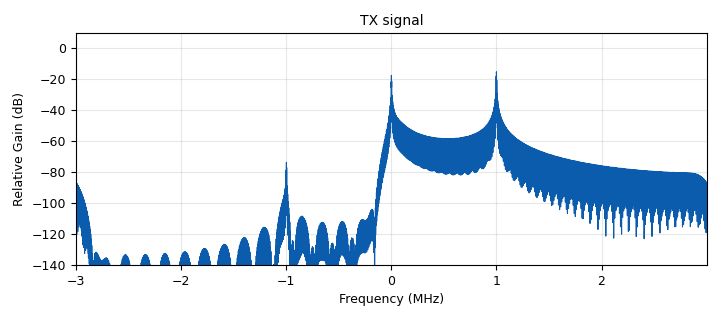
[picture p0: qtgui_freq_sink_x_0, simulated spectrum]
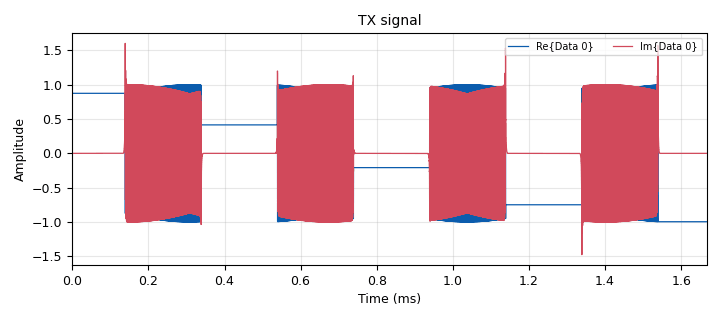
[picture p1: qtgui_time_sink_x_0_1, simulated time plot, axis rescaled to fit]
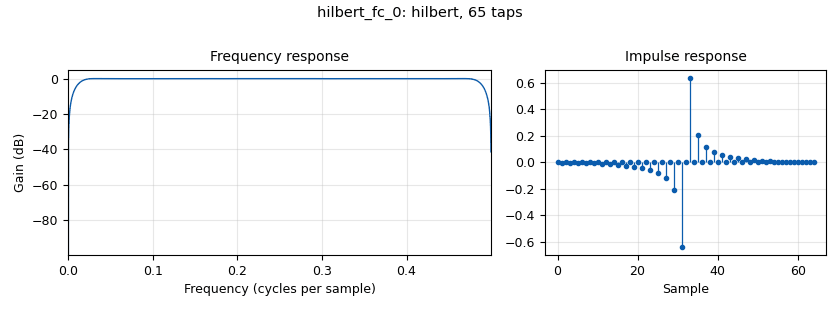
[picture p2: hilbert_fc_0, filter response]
options:
  parameters:
    generate_options: qt_gui
    id: top_block
    output_language: python
    title: Chirp Radar
  states: {}

blocks:
- name: samp_rate
  id: variable
  parameters:
    value: '6000000'
  states: {}
- name: analog_sig_source_x_0
  id: analog_sig_source_x
  parameters:
    amp: '1'
    freq: '2500'
    offset: '0'
    phase: '0'
    samp_rate: samp_rate
    type: float
    waveform: analog.GR_SQR_WAVE
  states: {}
- name: blocks_complex_to_real_0
  id: blocks_complex_to_real
  parameters: {}
  states: {}
- name: blocks_complex_to_real_0_0
  id: blocks_complex_to_real
  parameters: {}
  states: {}
- name: blocks_float_to_complex_0
  id: blocks_float_to_complex
  parameters: {}
  states: {}
- name: blocks_multiply_xx_0
  id: blocks_multiply_xx
  parameters:
    type: float
  states: {}
- name: blocks_vco_f_0
  id: blocks_vco_f
  parameters:
    amplitude: '1'
    samp_rate: samp_rate
    sensitivity: '6280000'
  states: {}
- name: hilbert_fc_0
  id: hilbert_fc
  parameters:
    num_taps: '64'
    win: firdes.WIN_HAMMING
  states: {}
- name: iio_pluto_sink_0
  id: iio_pluto_sink
  parameters:
    attenuation1: '10.0'
    auto_filter: 'True'
    bandwidth: '40000000'
    buffer_size: '32768'
    cyclic: 'False'
    frequency: '1000000000'
    samplerate: '2000000'
  states: {}
- name: iio_pluto_source_0
  id: iio_pluto_source
  parameters:
    auto_filter: 'True'
    bandwidth: '40000000'
    bbdc: 'True'
    buffer_size: '32768'
    frequency: '1000000000'
    gain1: '''slow_attack'''
    quadrature: 'True'
    rfdc: 'True'
    samplerate: '2000000'
  states: {}
- name: qtgui_freq_sink_x_0
  id: qtgui_freq_sink_x
  parameters:
    bw: samp_rate
    fc: '0'
    fftsize: '10240'
    name: '"TX signal"'
    type: complex
    wintype: firdes.WIN_BLACKMAN_hARRIS
  states: {}
- name: qtgui_freq_sink_x_1
  id: qtgui_freq_sink_x
  parameters:
    bw: samp_rate
    fc: '0'
    fftsize: '1000'
    freqhalf: 'False'
    type: float
    wintype: firdes.WIN_BLACKMAN_hARRIS
  states: {}
- name: qtgui_freq_sink_x_1_0
  id: qtgui_freq_sink_x
  parameters:
    bw: samp_rate
    fc: '0'
    fftsize: '10000'
    freqhalf: 'False'
    name: '"rx "'
    type: complex
    wintype: firdes.WIN_BLACKMAN_hARRIS
  states: {}
- name: qtgui_time_sink_x_0
  id: qtgui_time_sink_x
  parameters:
    name: '"RX signal"'
    size: '10000'
    srate: samp_rate
    type: complex
  states: {}
- name: qtgui_time_sink_x_0_0
  id: qtgui_time_sink_x
  parameters:
    name: '"RX signal multiplied"'
    size: '1024'
    srate: samp_rate
    type: float
  states: {}
- name: qtgui_time_sink_x_0_1
  id: qtgui_time_sink_x
  parameters:
    name: '"TX signal"'
    size: '10000'
    srate: samp_rate
    type: complex
  states: {}
- name: qtgui_time_sink_x_0_1_0
  id: qtgui_time_sink_x
  parameters:
    name: '"TX--rx signal"'
    size: '60000'
    srate: samp_rate
    type: complex
    update_time: '0.5'
  states: {}

connections:
- [analog_sig_source_x_0, '0', blocks_vco_f_0, '0']
- [blocks_complex_to_real_0, '0', blocks_float_to_complex_0, '0']
- [blocks_complex_to_real_0, '0', blocks_multiply_xx_0, '0']
- [blocks_complex_to_real_0_0, '0', blocks_float_to_complex_0, '1']
- [blocks_complex_to_real_0_0, '0', blocks_multiply_xx_0, '1']
- [blocks_float_to_complex_0, '0', qtgui_time_sink_x_0_1_0, '0']
- [blocks_multiply_xx_0, '0', qtgui_freq_sink_x_1, '0']
- [blocks_multiply_xx_0, '0', qtgui_time_sink_x_0_0, '0']
- [blocks_vco_f_0, '0', hilbert_fc_0, '0']
- [hilbert_fc_0, '0', blocks_complex_to_real_0, '0']
- [hilbert_fc_0, '0', iio_pluto_sink_0, '0']
- [hilbert_fc_0, '0', qtgui_freq_sink_x_0, '0']
- [hilbert_fc_0, '0', qtgui_time_sink_x_0_1, '0']
- [iio_pluto_source_0, '0', blocks_complex_to_real_0_0, '0']
- [iio_pluto_source_0, '0', qtgui_freq_sink_x_1_0, '0']
- [iio_pluto_source_0, '0', qtgui_time_sink_x_0, '0']

metadata:
  file_format: 1
